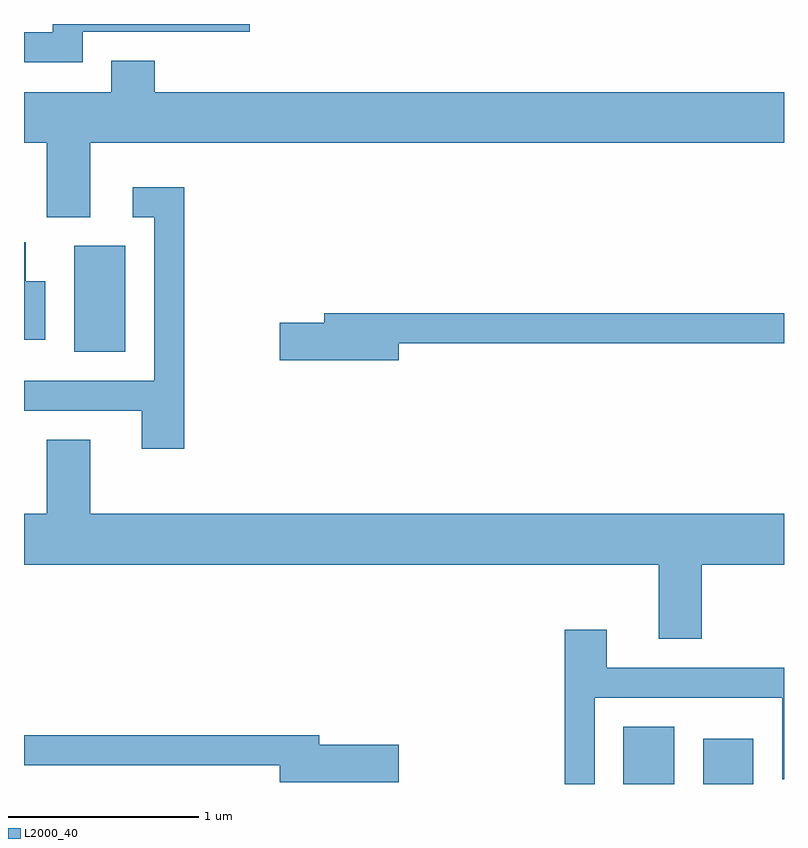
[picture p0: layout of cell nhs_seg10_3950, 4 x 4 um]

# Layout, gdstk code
import gdstk
lib = gdstk.Library(unit=1e-6, precision=1e-09)
def R(c, l, rs):  # rectangles x0, y0, x1, y1
    for r in rs: c.add(gdstk.rectangle(r[:2], r[2:], *l))
def P(c, l, *ps):  # polygons
    for p in ps: c.add(gdstk.Polygon(p, *l))
L2000_40 = (2000, 40)

nhs_seg10_3950 = lib.new_cell('nhs_seg10_3950')
R(nhs_seg10_3950, L2000_40, [(304.766,2130.522,305.034,2130.824), (305.186,2130.522,305.449,2130.759), (301.876,2132.796,302.144,2133.354)])
P(nhs_seg10_3950, L2000_40, [(301.919,2134.481),(302.798,2134.481),(302.798,2134.522),(301.761,2134.522),(301.761,2134.479),(301.611,2134.479),(301.611,2134.321),(301.919,2134.321)],
  [(301.959,2133.896),(305.611,2133.896),(305.611,2134.164),(302.299,2134.164),(302.299,2134.329),(302.071,2134.329),(302.071,2134.164),(301.611,2134.164),(301.611,2133.896),(301.731,2133.896),(301.731,2133.506),(301.959,2133.506)],
  [(302.454,2133.664),(302.183,2133.664),(302.183,2133.506),(302.296,2133.506),(302.296,2132.644),(301.611,2132.644),(301.611,2132.486),(302.231,2132.486),(302.231,2132.286),(302.454,2132.286)],
  [(301.724,2133.169),(301.619,2133.169),(301.619,2133.374),(301.611,2133.374),(301.611,2132.861),(301.724,2132.861)],
  [(303.584,2132.841),(305.611,2132.841),(305.611,2132.999),(303.191,2132.999),(303.191,2132.949),(302.956,2132.949),(302.956,2132.751),(303.584,2132.751)],
  [(305.179,2131.676),(305.611,2131.676),(305.611,2131.944),(301.959,2131.944),(301.959,2132.334),(301.731,2132.334),(301.731,2131.944),(301.611,2131.944),(301.611,2131.676),(304.951,2131.676),(304.951,2131.286),(305.179,2131.286)],
  [(304.614,2130.976),(305.601,2130.976),(305.601,2130.548),(305.611,2130.548),(305.611,2131.134),(304.679,2131.134),(304.679,2131.334),(304.456,2131.334),(304.456,2130.522),(304.614,2130.522)],
  [(303.584,2130.729),(303.164,2130.729),(303.164,2130.779),(301.611,2130.779),(301.611,2130.621),(302.956,2130.621),(302.956,2130.531),(303.584,2130.531)])

lib.write_gds('nhs_seg10_3950.gds')
